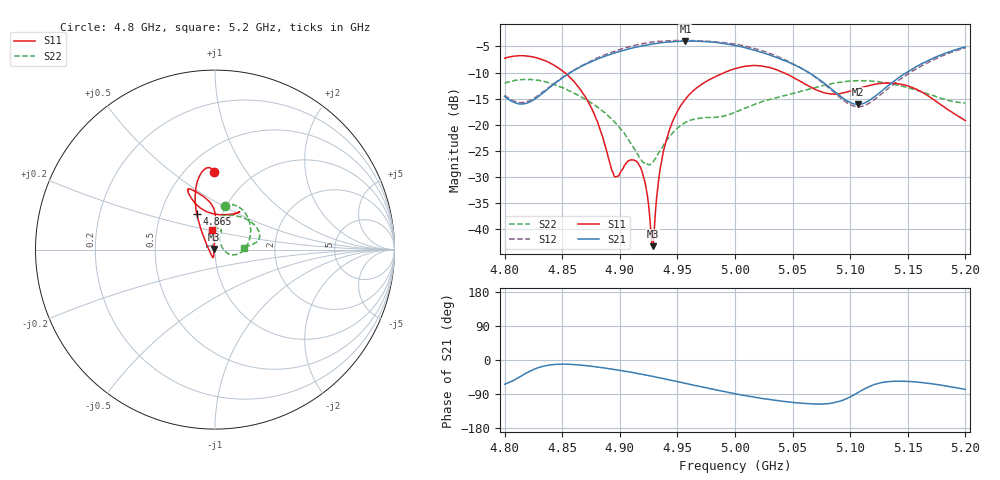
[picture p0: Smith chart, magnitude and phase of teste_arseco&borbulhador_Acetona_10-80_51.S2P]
! Network Analyzer HP8722D
! Hewlett-Packard
! Data name: Linha & Wilkinson
! Saver's name: Rodrigo Anjos
! Comments: Teste da utilização de aquisição
! continua pelo VNA HP8722D
! Time and date: 25/4/2025 15:41
!  Frequency  S11  S21  S12  S22
# HZ  S  MA R 50
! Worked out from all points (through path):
!   401 points, 4.8 GHz to 5.2 GHz, reference 50 ohm
!   highest |S21| = -3.97 dB at 4.957 GHz (marker M1); lowest = -16.1 dB at 5.107 GHz (marker M2)
!   lowest |S11| = -43.3 dB at 4.929 GHz (marker M3), VSWR 1.01, Z = 49.4 + j0.291 ohm
!   |S11| at or under -10 dB: 4.852 GHz to 4.991 GHz (139 MHz wide, 2.82 % of centre); 5.042 GHz to end of sweep
!   |S22| runs from -27.7 to -11.3 dB; largest |S21 - S12| = 1.2
!   S11 on the Smith chart (normalised r, x): 4.8 GHz: 0.68, +0.72; 4.865 GHz: 0.76, +0.32; 5.2 GHz: 0.94, +0.20
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4.8e9  0.4334 90.6  0.1866 -63.9  0.1916 69.6  0.25 77.5
4.82e9  0.453 96.9  0.1612 -32.5  0.1674 98.2  0.2716 61.7
4.845e9  0.3594 107.1  0.2548 -11.4  0.2585 119.4  0.238 34.5
4.865e9  0.2229 116.9  0.3535 -13.2  0.3584 120.9  0.1883 11.1
4.867e9  0.2078 118.1  0.3639 -13.9  0.3677 120.6  0.1827 8.7
4.88e9  0.1101 128.3  0.4238 -18.4  0.4331 118.3  0.1488 -5.4
4.895e9  0.03209 -172.3  0.4858 -24.9  0.5015 113.8  0.1067 -15.9
4.909e9  0.04559 -105.7  0.5363 -32.0  0.5617 107.6  0.06733 -14.6
4.917e9  0.0404 -101.3  0.5631 -36.5  0.5898 103.7  0.04822 -1.7
4.922e9  0.02768 -104.2  0.576 -39.2  0.6036 100.7  0.04173 15.0
4.927e9  0.009261 -132.5  0.5899 -42.2  0.6179 97.7  0.04215 37.2
4.929e9  0.006817 154.4  0.5952 -43.4  0.6205 96.6  0.04397 44.5
4.934e9  0.03123 98.5  0.6032 -46.7  0.6298 93.3  0.05425 58.5
4.943e9  0.08839 90.3  0.6218 -52.5  0.6377 87.4  0.07684 68.8
4.957e9  0.176 89.1  0.6332 -61.6  0.6402 78.5  0.1053 71.7
5e9  0.3442 109.0  0.5735 -88.9  0.593 50.8  0.1315 88.1
5.031e9  0.3508 115.0  0.4622 -104.7  0.4792 33.3  0.1755 84.8
5.067e9  0.2252 105.0  0.3021 -115.9  0.2992 23.6  0.2223 57.2
5.107e9  0.2218 63.7  0.1564 -85.6  0.1483 57.6  0.2638 24.3
5.134e9  0.2505 56.9  0.2408 -57.0  0.2266 88.6  0.2484 12.4
5.169e9  0.1842 69.4  0.4185 -62.1  0.4018 84.9  0.1948 6.8
5.2e9  0.1093 100.1  0.5547 -77.6  0.5454 70.3  0.1609 3.8
